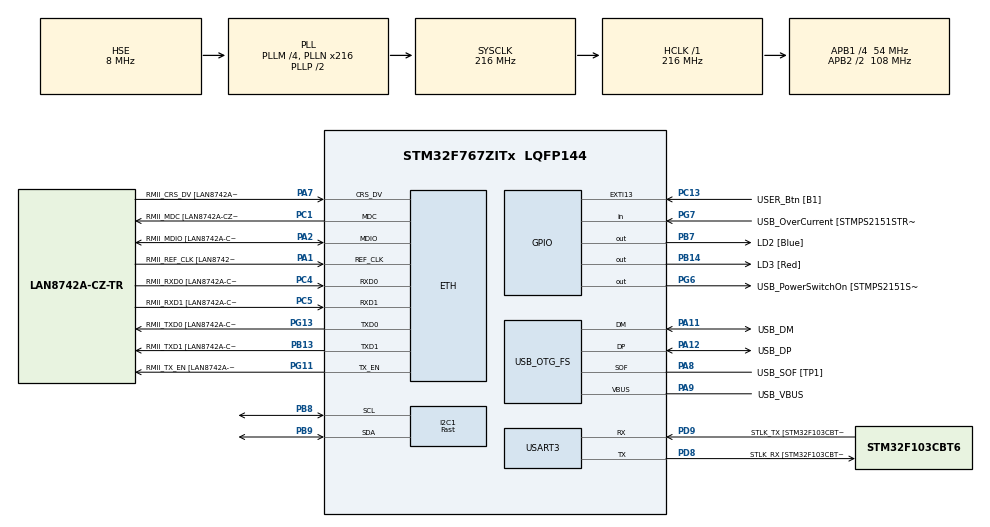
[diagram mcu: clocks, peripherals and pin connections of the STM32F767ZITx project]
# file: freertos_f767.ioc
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ETH.MediaInterface=ETH_MEDIA_INTERFACE_RMII
ETH.PHY_Name=LAN8742A_PHY_ADDRESS
ETH.PHY_Value=0
ETH.PhyAddress=0
FREERTOS.Tasks01=blink01,0,128,Startblink01,Default,NULL,Dynamic,NULL,NULL;blink02,-1,128,Startblink02,Default,NULL,Dynamic,NULL,NULL;blink03,-3,128,Startblink03,Default,NULL,Dynamic,NULL,NULL;I2C,1,128,StartTask_I2C,Default,NULL,Dynamic,NULL,NULL
FREERTOS.configGENERATE_RUN_TIME_STATS=1
FREERTOS.configUSE_TRACE_FACILITY=1
I2C1.I2C_Speed_Mode=I2C_Fast
I2C1.Timing=0x6000030D
Mcu.Family=STM32F7
Mcu.Name=STM32F767ZITx
Mcu.Package=LQFP144
NVIC.PriorityGroup=NVIC_PRIORITYGROUP_4
NVIC.TIM7_IRQn=true\:0\:0\:false\:false\:true\:false\:false\:true
NVIC.TimeBase=TIM7_IRQn
NVIC.TimeBaseIP=TIM7
PA1.GPIO_Label=RMII_REF_CLK [LAN8742A-CZ-TR_REFCLK0]
PA1.Mode=RMII
PA1.Signal=ETH_REF_CLK
PA10.GPIO_Label=USB_ID
PA10.Signal=USB_OTG_FS_ID
PA11.GPIO_Label=USB_DM
PA11.Mode=Device_Only
PA11.Signal=USB_OTG_FS_DM
PA12.GPIO_Label=USB_DP
PA12.Mode=Device_Only
PA12.Signal=USB_OTG_FS_DP
PA13.GPIO_Label=TMS
PA13.Mode=Serial_Wire
PA13.Signal=SYS_JTMS-SWDIO
PA14.GPIO_Label=TCK
PA14.Mode=Serial_Wire
PA14.Signal=SYS_JTCK-SWCLK
PA2.GPIO_Label=RMII_MDIO [LAN8742A-CZ-TR_MDIO]
PA2.Mode=RMII
PA2.Signal=ETH_MDIO
PA7.GPIO_Label=RMII_CRS_DV [LAN8742A-CZ-TR_CRS_DV]
PA7.Mode=RMII
PA7.Signal=ETH_CRS_DV
PA8.GPIO_Label=USB_SOF [TP1]
PA8.Mode=Activate_SOF_FS
PA8.Signal=USB_OTG_FS_SOF
PA9.GPIO_Label=USB_VBUS
PA9.Mode=Activate_VBUS
PA9.Signal=USB_OTG_FS_VBUS
PB13.GPIO_Label=RMII_TXD1 [LAN8742A-CZ-TR_TXD1]
PB13.Mode=RMII
PB13.Signal=ETH_TXD1
PB14.GPIO_Label=LD3 [Red]
PB14.Signal=GPIO_Output
PB3.GPIO_Label=SWO
PB3.Signal=SYS_JTDO-SWO
PB7.GPIO_Label=LD2 [Blue]
PB7.Signal=GPIO_Output
PB8.Mode=I2C
PB8.Signal=I2C1_SCL
PB9.Mode=I2C
PB9.Signal=I2C1_SDA
PC1.GPIO_Label=RMII_MDC [LAN8742A-CZ-TR_MDC]
PC1.Mode=RMII
PC1.Signal=ETH_MDC
PC13.GPIO_Label=USER_Btn [B1]
PC13.Signal=GPXTI13
PC14/OSC32_IN.Mode=LSE-External-Oscillator
PC14/OSC32_IN.Signal=RCC_OSC32_IN
PC15/OSC32_OUT.Mode=LSE-External-Oscillator
PC15/OSC32_OUT.Signal=RCC_OSC32_OUT
PC4.GPIO_Label=RMII_RXD0 [LAN8742A-CZ-TR_RXD0]
PC4.Mode=RMII
PC4.Signal=ETH_RXD0
PC5.GPIO_Label=RMII_RXD1 [LAN8742A-CZ-TR_RXD1]
PC5.Mode=RMII
PC5.Signal=ETH_RXD1
PD8.GPIO_Label=STLK_RX [STM32F103CBT6_PA3]
PD8.Mode=Asynchronous
PD8.Signal=USART3_TX
PD9.GPIO_Label=STLK_TX [STM32F103CBT6_PA2]
PD9.Mode=Asynchronous
PD9.Signal=USART3_RX
PG11.GPIO_Label=RMII_TX_EN [LAN8742A-CZ-TR_TXEN]
PG11.Mode=RMII
PG11.Signal=ETH_TX_EN
PG13.GPIO_Label=RMII_TXD0 [LAN8742A-CZ-TR_TXD0]
PG13.Mode=RMII
PG13.Signal=ETH_TXD0
PG6.GPIO_Label=USB_PowerSwitchOn [STMPS2151STR_EN]
PG6.Signal=GPIO_Output
PG7.GPIO_Label=USB_OverCurrent [STMPS2151STR_FAULT]
PG7.Signal=GPIO_Input
PH0/OSC_IN.GPIO_Label=MCO [STM32F103CBT6_PA8]
PH0/OSC_IN.Mode=HSE-External-Clock-Source
PH0/OSC_IN.Signal=RCC_OSC_IN
PH1/OSC_OUT.Mode=HSE-External-Clock-Source
PH1/OSC_OUT.Signal=RCC_OSC_OUT
ProjectManager.HeapSize=0x200
ProjectManager.StackSize=0x400
ProjectManager.TargetToolchain=STM32CubeIDE
RCC.48MHZClocksFreq_Value=24000000
RCC.AHBFreq_Value=216000000
RCC.APB1CLKDivider=RCC_HCLK_DIV4
RCC.APB1Freq_Value=54000000
RCC.APB1TimFreq_Value=108000000
RCC.APB2CLKDivider=RCC_HCLK_DIV2
RCC.APB2Freq_Value=108000000
RCC.APB2TimFreq_Value=216000000
RCC.CortexFreq_Value=216000000
RCC.HCLKFreq_Value=216000000
RCC.HSE_VALUE=8000000
RCC.HSI_VALUE=16000000
RCC.PLLM=4
RCC.PLLMUL=RCC_PLL_MUL9
RCC.PLLN=216
RCC.PLLQ=9
RCC.PRESCALERUSB=RCC_USBCLKSOURCE_PLL_DIV1_5
RCC.SYSCLKFreq_VALUE=216000000
RCC.SYSCLKSource=RCC_SYSCLKSOURCE_PLLCLK
RCC.SYSCLKSourceVirtual=RCC_SYSCLKSOURCE_PLLCLK
RCC.USBFreq_Value=48000000
RCC.VCOOutputFreq_Value=432000000
USART3.VirtualMode-Asynchronous=VM_ASYNC
USB_OTG_FS.VirtualMode=Device_Only
VP_FREERTOS_VS_CMSIS_V1.Mode=CMSIS_V1
VP_SYS_VS_tim7.Mode=TIM7
board=NUCLEO-F767ZI

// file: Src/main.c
/* USER CODE BEGIN Header */
/**
  ******************************************************************************
  * @file           : main.c
  * @brief          : Main program body
  ******************************************************************************
  * @attention
  *
  * <h2><center>&copy; Copyright (c) 2020 STMicroelectronics.
  * All rights reserved.</center></h2>
  *
  * This software component is licensed by ST under Ultimate Liberty license
  * SLA0044, the "License"; You may not use this file except in compliance with
  * the License. You may obtain a copy of the License at:
  *                             www.st.com/SLA0044
  *
  ******************************************************************************
  */
/* USER CODE END Header */

#include "main.h"
#include "cmsis_os.h"

/* USER CODE BEGIN Includes */
//https://controllerstech.com/oled-display-using-i2c-stm32/
#include "stdio.h" //printf function
#include "ssd1306.h"
#include "bitmaps.h"
/* USER CODE END Includes */

/* USER CODE BEGIN PD */
//#define SSD1306_128_64
/* USER CODE END PD */

ETH_HandleTypeDef heth;

I2C_HandleTypeDef hi2c1;

UART_HandleTypeDef huart3;

PCD_HandleTypeDef hpcd_USB_OTG_FS;

osThreadId blink01Handle;
osThreadId blink02Handle;
osThreadId blink03Handle;
osThreadId I2CHandle;

void SystemClock_Config(void);
static void MX_GPIO_Init(void);
static void MX_ETH_Init(void);
static void MX_USART3_UART_Init(void);
static void MX_USB_OTG_FS_PCD_Init(void);
static void MX_I2C1_Init(void);
void Startblink01(void const * argument);
void Startblink02(void const * argument);
void Startblink03(void const * argument);
void StartTask_I2C(void const * argument);

/* USER CODE BEGIN PFP */

int _write(int file,char *ptr,int len){
	int i=0;
	for(i=0;i<len;i++)
		ITM_SendChar((*ptr++));
	return len;

}

uint8_t count=0;
/* USER CODE END PFP */

int main(void)
{

  /* MCU Configuration--------------------------------------------------------*/

  /* Reset of all peripherals, Initializes the Flash interface and the Systick. */
  HAL_Init();

  /* Configure the system clock */
  SystemClock_Config();

  /* Initialize all configured peripherals */
  MX_GPIO_Init();
  MX_ETH_Init();
  MX_USART3_UART_Init();
  MX_USB_OTG_FS_PCD_Init();
  MX_I2C1_Init();

  /* Create the thread(s) */
  /* definition and creation of blink01 */
  osThreadDef(blink01, Startblink01, osPriorityNormal, 0, 128);
  blink01Handle = osThreadCreate(osThread(blink01), NULL);

  /* definition and creation of blink02 */
  osThreadDef(blink02, Startblink02, osPriorityBelowNormal, 0, 128);
  blink02Handle = osThreadCreate(osThread(blink02), NULL);

  /* definition and creation of blink03 */
  osThreadDef(blink03, Startblink03, osPriorityIdle, 0, 128);
  blink03Handle = osThreadCreate(osThread(blink03), NULL);

  /* definition and creation of I2C */
  osThreadDef(I2C, StartTask_I2C, osPriorityAboveNormal, 0, 128);
  I2CHandle = osThreadCreate(osThread(I2C), NULL);

  /* Start scheduler */
  osKernelStart();

  /* We should never get here as control is now taken by the scheduler */

  /* Infinite loop */
  while (1)
  {

  }
}

void SystemClock_Config(void)
{
  RCC_OscInitTypeDef RCC_OscInitStruct = {0};
  RCC_ClkInitTypeDef RCC_ClkInitStruct = {0};
  RCC_PeriphCLKInitTypeDef PeriphClkInitStruct = {0};

  /** Configure LSE Drive Capability
  */
  HAL_PWR_EnableBkUpAccess();
  /** Configure the main internal regulator output voltage
  */
  __HAL_RCC_PWR_CLK_ENABLE();
  __HAL_PWR_VOLTAGESCALING_CONFIG(PWR_REGULATOR_VOLTAGE_SCALE1);
  /** Initializes the CPU, AHB and APB busses clocks
  */
  RCC_OscInitStruct.OscillatorType = RCC_OSCILLATORTYPE_HSE;
  RCC_OscInitStruct.HSEState = RCC_HSE_BYPASS;
  RCC_OscInitStruct.PLL.PLLState = RCC_PLL_ON;
  RCC_OscInitStruct.PLL.PLLSource = RCC_PLLSOURCE_HSE;
  RCC_OscInitStruct.PLL.PLLM = 4;
  RCC_OscInitStruct.PLL.PLLN = 216;
  RCC_OscInitStruct.PLL.PLLP = RCC_PLLP_DIV2;
  RCC_OscInitStruct.PLL.PLLQ = 9;
  if (HAL_RCC_OscConfig(&RCC_OscInitStruct) != HAL_OK)
  {
    Error_Handler();
  }
  /** Activate the Over-Drive mode
  */
  if (HAL_PWREx_EnableOverDrive() != HAL_OK)
  {
    Error_Handler();
  }
  /** Initializes the CPU, AHB and APB busses clocks
  */
  RCC_ClkInitStruct.ClockType = RCC_CLOCKTYPE_HCLK|RCC_CLOCKTYPE_SYSCLK
                              |RCC_CLOCKTYPE_PCLK1|RCC_CLOCKTYPE_PCLK2;
  RCC_ClkInitStruct.SYSCLKSource = RCC_SYSCLKSOURCE_PLLCLK;
  RCC_ClkInitStruct.AHBCLKDivider = RCC_SYSCLK_DIV1;
  RCC_ClkInitStruct.APB1CLKDivider = RCC_HCLK_DIV4;
  RCC_ClkInitStruct.APB2CLKDivider = RCC_HCLK_DIV2;

  if (HAL_RCC_ClockConfig(&RCC_ClkInitStruct, FLASH_LATENCY_7) != HAL_OK)
  {
    Error_Handler();
  }
  PeriphClkInitStruct.PeriphClockSelection = RCC_PERIPHCLK_USART3|RCC_PERIPHCLK_I2C1
                              |RCC_PERIPHCLK_CLK48;
  PeriphClkInitStruct.Usart3ClockSelection = RCC_USART3CLKSOURCE_PCLK1;
  PeriphClkInitStruct.I2c1ClockSelection = RCC_I2C1CLKSOURCE_PCLK1;
  PeriphClkInitStruct.Clk48ClockSelection = RCC_CLK48SOURCE_PLL;
  if (HAL_RCCEx_PeriphCLKConfig(&PeriphClkInitStruct) != HAL_OK)
  {
    Error_Handler();
  }
}

static void MX_ETH_Init(void)
{

   uint8_t MACAddr[6] ;

  heth.Instance = ETH;
  heth.Init.AutoNegotiation = ETH_AUTONEGOTIATION_ENABLE;
  heth.Init.PhyAddress = LAN8742A_PHY_ADDRESS;
  MACAddr[0] = 0x00;
  MACAddr[1] = 0x80;
  MACAddr[2] = 0xE1;
  MACAddr[3] = 0x00;
  MACAddr[4] = 0x00;
  MACAddr[5] = 0x00;
  heth.Init.MACAddr = &MACAddr[0];
  heth.Init.RxMode = ETH_RXPOLLING_MODE;
  heth.Init.ChecksumMode = ETH_CHECKSUM_BY_HARDWARE;
  heth.Init.MediaInterface = ETH_MEDIA_INTERFACE_RMII;

  if (HAL_ETH_Init(&heth) != HAL_OK)
  {
    Error_Handler();
  }

}

static void MX_I2C1_Init(void)
{

  hi2c1.Instance = I2C1;
  hi2c1.Init.Timing = 0x6000030D;
  hi2c1.Init.OwnAddress1 = 0;
  hi2c1.Init.AddressingMode = I2C_ADDRESSINGMODE_7BIT;
  hi2c1.Init.DualAddressMode = I2C_DUALADDRESS_DISABLE;
  hi2c1.Init.OwnAddress2 = 0;
  hi2c1.Init.OwnAddress2Masks = I2C_OA2_NOMASK;
  hi2c1.Init.GeneralCallMode = I2C_GENERALCALL_DISABLE;
  hi2c1.Init.NoStretchMode = I2C_NOSTRETCH_DISABLE;
  if (HAL_I2C_Init(&hi2c1) != HAL_OK)
  {
    Error_Handler();
  }
  /** Configure Analogue filter
  */
  if (HAL_I2CEx_ConfigAnalogFilter(&hi2c1, I2C_ANALOGFILTER_ENABLE) != HAL_OK)
  {
    Error_Handler();
  }
  /** Configure Digital filter
  */
  if (HAL_I2CEx_ConfigDigitalFilter(&hi2c1, 0) != HAL_OK)
  {
    Error_Handler();
  }

}

static void MX_USART3_UART_Init(void)
{

  huart3.Instance = USART3;
  huart3.Init.BaudRate = 115200;
  huart3.Init.WordLength = UART_WORDLENGTH_8B;
  huart3.Init.StopBits = UART_STOPBITS_1;
  huart3.Init.Parity = UART_PARITY_NONE;
  huart3.Init.Mode = UART_MODE_TX_RX;
  huart3.Init.HwFlowCtl = UART_HWCONTROL_NONE;
  huart3.Init.OverSampling = UART_OVERSAMPLING_16;
  huart3.Init.OneBitSampling = UART_ONE_BIT_SAMPLE_DISABLE;
  huart3.AdvancedInit.AdvFeatureInit = UART_ADVFEATURE_NO_INIT;
  if (HAL_UART_Init(&huart3) != HAL_OK)
  {
    Error_Handler();
  }

}

static void MX_USB_OTG_FS_PCD_Init(void)
{

  hpcd_USB_OTG_FS.Instance = USB_OTG_FS;
  hpcd_USB_OTG_FS.Init.dev_endpoints = 6;
  hpcd_USB_OTG_FS.Init.speed = PCD_SPEED_FULL;
  hpcd_USB_OTG_FS.Init.dma_enable = DISABLE;
  hpcd_USB_OTG_FS.Init.phy_itface = PCD_PHY_EMBEDDED;
  hpcd_USB_OTG_FS.Init.Sof_enable = ENABLE;
  hpcd_USB_OTG_FS.Init.low_power_enable = DISABLE;
  hpcd_USB_OTG_FS.Init.lpm_enable = DISABLE;
  hpcd_USB_OTG_FS.Init.vbus_sensing_enable = ENABLE;
  hpcd_USB_OTG_FS.Init.use_dedicated_ep1 = DISABLE;
  if (HAL_PCD_Init(&hpcd_USB_OTG_FS) != HAL_OK)
  {
    Error_Handler();
  }

}

static void MX_GPIO_Init(void)
{
  GPIO_InitTypeDef GPIO_InitStruct = {0};

  /* GPIO Ports Clock Enable */
  __HAL_RCC_GPIOC_CLK_ENABLE();
  __HAL_RCC_GPIOH_CLK_ENABLE();
  __HAL_RCC_GPIOA_CLK_ENABLE();
  __HAL_RCC_GPIOB_CLK_ENABLE();
  __HAL_RCC_GPIOD_CLK_ENABLE();
  __HAL_RCC_GPIOG_CLK_ENABLE();

  /*Configure GPIO pin Output Level */
  HAL_GPIO_WritePin(GPIOB, LD3_Pin|LD2_Pin, GPIO_PIN_RESET);

  /*Configure GPIO pin Output Level */
  HAL_GPIO_WritePin(USB_PowerSwitchOn_GPIO_Port, USB_PowerSwitchOn_Pin, GPIO_PIN_RESET);

  /*Configure GPIO pin : USER_Btn_Pin */
  GPIO_InitStruct.Pin = USER_Btn_Pin;
  GPIO_InitStruct.Mode = GPIO_MODE_IT_RISING;
  GPIO_InitStruct.Pull = GPIO_NOPULL;
  HAL_GPIO_Init(USER_Btn_GPIO_Port, &GPIO_InitStruct);

  /*Configure GPIO pins : LD3_Pin LD2_Pin */
  GPIO_InitStruct.Pin = LD3_Pin|LD2_Pin;
  GPIO_InitStruct.Mode = GPIO_MODE_OUTPUT_PP;
  GPIO_InitStruct.Pull = GPIO_NOPULL;
  GPIO_InitStruct.Speed = GPIO_SPEED_FREQ_LOW;
  HAL_GPIO_Init(GPIOB, &GPIO_InitStruct);

  /*Configure GPIO pin : USB_PowerSwitchOn_Pin */
  GPIO_InitStruct.Pin = USB_PowerSwitchOn_Pin;
  GPIO_InitStruct.Mode = GPIO_MODE_OUTPUT_PP;
  GPIO_InitStruct.Pull = GPIO_NOPULL;
  GPIO_InitStruct.Speed = GPIO_SPEED_FREQ_LOW;
  HAL_GPIO_Init(USB_PowerSwitchOn_GPIO_Port, &GPIO_InitStruct);

  /*Configure GPIO pin : USB_OverCurrent_Pin */
  GPIO_InitStruct.Pin = USB_OverCurrent_Pin;
  GPIO_InitStruct.Mode = GPIO_MODE_INPUT;
  GPIO_InitStruct.Pull = GPIO_NOPULL;
  HAL_GPIO_Init(USB_OverCurrent_GPIO_Port, &GPIO_InitStruct);

}

void Startblink01(void const * argument)
{

  /* USER CODE BEGIN 5 */
  /* Infinite loop */
  for(;;)
  {
	count++;
	printf("FRAN PEREA EL QUE LO LEA=%d \n",count);
    osDelay(100);
  }
  osThreadTerminate(NULL);
  /* USER CODE END 5 */
}

void Startblink02(void const * argument)
{
  /* USER CODE BEGIN Startblink02 */
  /* Infinite loop */
  for(;;)
  {
	HAL_GPIO_TogglePin(GPIOB,GPIO_PIN_7);
    osDelay(100);
  }
  osThreadTerminate(NULL);
  /* USER CODE END Startblink02 */
}

void Startblink03(void const * argument)
{
  /* USER CODE BEGIN Startblink03 */
  /* Infinite loop */
  for(;;)
  {
	HAL_GPIO_TogglePin(GPIOB,GPIO_PIN_14);
    osDelay(1000);
    //vTaskGetRunTimeStats();
  }
  osThreadTerminate(NULL);
  /* USER CODE END Startblink03 */
}

void StartTask_I2C(void const * argument)
{
  /* USER CODE BEGIN StartTask_I2C */
	SSD1306_Init();
	SSD1306_Fill(SSD1306_COLOR_BLACK);
	SSD1306_UpdateScreen();
	SSD1306_GotoXY(10,10);

	char buf[10];
	char oldbuf[10];

	uint16_t i=0;
  /* Infinite loop */
  for(;;)
  {
//	  SSD1306_GotoXY(10,10);
//	  sprintf (buf, "puta %d",i);
//	  strncpy(oldbuf, buf, 10);
//	  SSD1306_Puts(buf,&Font_7x10,SSD1306_COLOR_WHITE);
//	  SSD1306_UpdateScreen();
//    osDelay(10);
//    i++;
	  SSD1306_DrawBitmap(0,0,ojete,128,64,1);
	  SSD1306_UpdateScreen();
	  osDelay(1000);
  }
  /* USER CODE END StartTask_I2C */
}

void HAL_TIM_PeriodElapsedCallback(TIM_HandleTypeDef *htim)
{
  if (htim->Instance == TIM7) {
    HAL_IncTick();
  }
}

void Error_Handler(void)
{
}

/************************ (C) COPYRIGHT STMicroelectronics *****END OF FILE****/
